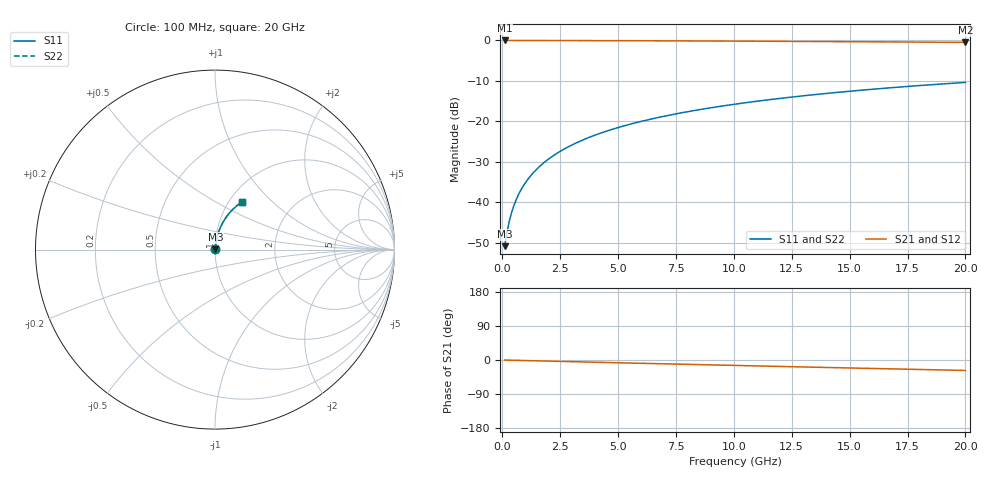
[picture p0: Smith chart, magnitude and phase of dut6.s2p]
! Touchstone file exported from HFSS 2026.1.0
!  File:  C:/ffzhzh/LocalFiles/Ansys_Project_Files/temp_train_BSMRDL_6_1782881777_42304.aedt
!  Generated:  12:57:33 PM Jul  1, 2026
!  Design:  BSMRDL
!  Project:  temp_train_BSMRDL_6_1782881777_42304
! Variables:
!  h_bsmrdl = 4.76um
!  h_ox = 20um
!  h_rdl = 5um
!  h_sub = 80um
!  h_tmrdl = 5um
!  h_tsv = 80um
!  h_via = 3um
!  l_bsmrdl = 361.51um
!  l_sub = 761.51um
!  l_tmrdl = 200um
!  m_sub = 200um
!  pitch = 40.12um
!  r_tsv = 6um
!  s_tmrdl = 10um
!  w_bsmrdl = 12.37um
!  w_sub = 500um
!  w_tmrdl = 12um
!  x_tsv_center1 = 206um
!  x_tsv_center2 = 579.88um
!  x_tsv_center3 = 791.88um
!  x_tsv_center4 = 1165.76um
!  x_tsv_center5 = 1377.76um
!  x_tsv_center6 = 1751.64um
# GHz S MA R 50.000000
! Terminal data exported
! Port[1] = BSM_RDL1_1_T1
! Port[2] = BSM_RDL1_1_T2
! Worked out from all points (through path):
!   200 points, 100 MHz to 20 GHz, reference 50 ohm
!   highest |S21| = -0.02 dB at 100 MHz (marker M1); lowest = -0.5 dB at 20 GHz (marker M2)
!   group delay of S21, straight-line fit = 3.83 ps
!   lowest |S11| = -50.8 dB at 100 MHz (marker M3), VSWR 1.01, Z = 50.2 + j0.179 ohm
!   |S11| at or under -10 dB: start of sweep to end of sweep
!   |S22| runs from -50.8 to -10.4 dB; largest |S21 - S12| = 3e-15
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0.1  0.002883 38.2  0.9977 -0.2  0.9977 -0.2  0.002883 38.2
! Gamma 0 0 0 0
! Port Impedance 50 0 50 0
0.2  0.004242 56.9  0.9977 -0.3  0.9977 -0.3  0.004242 56.9
0.3  0.005822 65.8  0.9976 -0.5  0.9976 -0.5  0.005822 65.8
0.4  0.00747 70.7  0.9976 -0.6  0.9976 -0.6  0.007468 70.6
0.5  0.009139 73.7  0.9975 -0.7  0.9975 -0.7  0.009136 73.6
0.6  0.01081 75.7  0.9974 -0.9  0.9974 -0.9  0.01081 75.7
0.8  0.01417 78.2  0.9973 -1.2  0.9973 -1.2  0.01417 78.2
1.1  0.01921 80.2  0.9972 -1.6  0.9972 -1.6  0.0192 80.2
1.5  0.02593 81.5  0.9969 -2.2  0.9969 -2.2  0.02593 81.5
1.8  0.03097 81.9  0.9966 -2.7  0.9966 -2.7  0.03097 81.9
2.1  0.03601 82.0  0.9964 -3.1  0.9964 -3.1  0.03601 82.0
2.7  0.04605 81.9  0.9957 -4.0  0.9957 -4.0  0.04605 81.9
3.5  0.05935 81.3  0.9946 -5.1  0.9946 -5.1  0.05935 81.3
4.2  0.07089 80.6  0.9935 -6.1  0.9935 -6.1  0.07089 80.6
5  0.08394 79.7  0.9921 -7.3  0.9921 -7.3  0.08394 79.7
5.9  0.09846 78.6  0.9903 -8.6  0.9903 -8.6  0.09846 78.6
6.8  0.1128 77.5  0.9883 -9.8  0.9883 -9.8  0.1128 77.5
8.3  0.1363 75.5  0.9847 -11.9  0.9847 -11.9  0.1363 75.5
10.1  0.1639 73.2  0.9798 -14.4  0.9798 -14.4  0.1639 73.2
13.4  0.2128 69.0  0.9694 -18.9  0.9694 -18.9  0.2128 69.0
16.7  0.2592 64.8  0.9573 -23.3  0.9573 -23.3  0.2592 64.8
20  0.3028 60.7  0.944 -27.6  0.944 -27.6  0.3028 60.7
